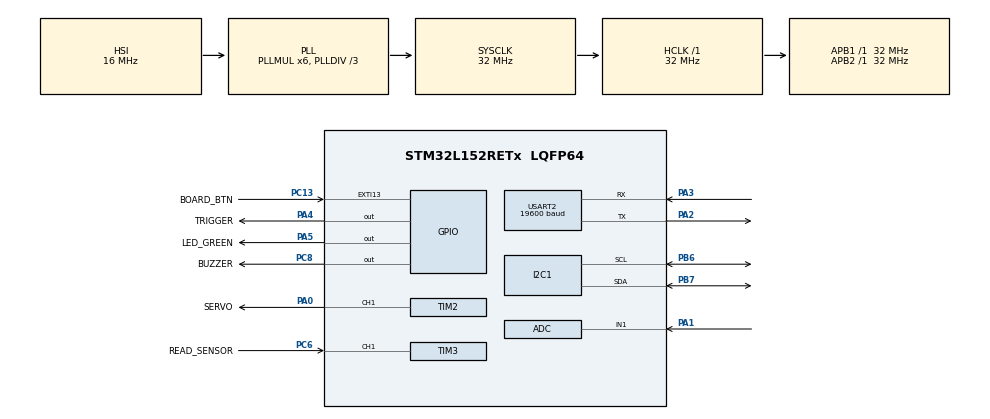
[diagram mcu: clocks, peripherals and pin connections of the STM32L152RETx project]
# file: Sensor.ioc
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ADC.Channel-1\#ChannelRegularConversion=ADC_CHANNEL_1
ADC.ContinuousConvMode=ENABLE
ADC.NbrOfConversionFlag=1
ADC.Rank-1\#ChannelRegularConversion=1
ADC.SamplingTime-1\#ChannelRegularConversion=ADC_SAMPLETIME_4CYCLES
Mcu.Family=STM32L1
Mcu.Name=STM32L152RETx
Mcu.Package=LQFP64
NVIC.ADC1_IRQn=true\:2\:0\:true\:false\:true\:true\:true
NVIC.EXTI15_10_IRQn=true\:0\:0\:true\:false\:true\:true\:false
NVIC.I2C1_EV_IRQn=true\:0\:0\:false\:false\:true\:true\:true
NVIC.PriorityGroup=NVIC_PRIORITYGROUP_4
NVIC.TIM2_IRQn=true\:0\:0\:false\:false\:true\:true\:false
NVIC.TIM3_IRQn=true\:0\:0\:false\:false\:true\:true\:false
NVIC.TIM9_IRQn=true\:0\:0\:false\:false\:true\:true\:true
NVIC.USART2_IRQn=true\:0\:0\:false\:false\:true\:true\:true
PA0-WKUP1.GPIO_Label=SERVO
PA0-WKUP1.GPIO_ModeDefaultPP=GPIO_MODE_AF_PP
PA0-WKUP1.GPIO_PuPd=GPIO_PULLUP
PA0-WKUP1.GPIO_Speed=GPIO_SPEED_FREQ_MEDIUM
PA0-WKUP1.Signal=S_TIM2_CH1_ETR
PA1.Mode=IN1
PA1.Signal=ADC_IN1
PA2.Mode=Asynchronous
PA2.Signal=USART2_TX
PA3.Mode=Asynchronous
PA3.Signal=USART2_RX
PA4.GPIO_Label=TRIGGER
PA4.GPIO_Speed=GPIO_SPEED_FREQ_MEDIUM
PA4.PinState=GPIO_PIN_RESET
PA4.Signal=GPIO_Output
PA5.GPIO_Label=LED_GREEN
PA5.GPIO_PuPd=GPIO_PULLUP
PA5.Signal=GPIO_Output
PB6.Mode=I2C
PB6.Signal=I2C1_SCL
PB7.Mode=I2C
PB7.Signal=I2C1_SDA
PC13-WKUP2.GPIO_Label=BOARD_BTN
PC13-WKUP2.Signal=GPXTI13
PC14-OSC32_IN.Mode=LSE-External-Oscillator
PC14-OSC32_IN.Signal=RCC_OSC32_IN
PC15-OSC32_OUT.Mode=LSE-External-Oscillator
PC15-OSC32_OUT.Signal=RCC_OSC32_OUT
PC6.GPIO_Label=READ_SENSOR
PC6.GPIO_PuPd=GPIO_NOPULL
PC6.GPIO_Speed=GPIO_SPEED_FREQ_MEDIUM
PC6.Signal=S_TIM3_CH1
PC8.GPIO_Label=BUZZER
PC8.GPIO_PuPd=GPIO_PULLDOWN
PC8.Signal=GPIO_Output
PH0-OSC_IN.Mode=HSE-External-Oscillator
PH0-OSC_IN.Signal=RCC_OSC_IN
PH1-OSC_OUT.Mode=HSE-External-Oscillator
PH1-OSC_OUT.Signal=RCC_OSC_OUT
ProjectManager.HeapSize=0x200
ProjectManager.StackSize=0x400
ProjectManager.TargetToolchain=STM32CubeIDE
RCC.48MHZClocksFreq_Value=48000000
RCC.AHBFreq_Value=32000000
RCC.APB1Freq_Value=32000000
RCC.APB1TimFreq_Value=32000000
RCC.APB2Freq_Value=32000000
RCC.APB2TimFreq_Value=32000000
RCC.HCLKFreq_Value=32000000
RCC.HSE_VALUE=24000000
RCC.HSI_VALUE=16000000
RCC.MSI_VALUE=2097000
RCC.PLLDIV=RCC_PLL_DIV3
RCC.PLLMUL=RCC_PLL_MUL6
RCC.SYSCLKFreq_VALUE=32000000
RCC.SYSCLKSource=RCC_SYSCLKSOURCE_PLLCLK
RCC.VCOOutputFreq_Value=96000000
SH.S_TIM2_CH1_ETR.0=TIM2_CH1,PWM Generation1 CH1
SH.S_TIM3_CH1.0=TIM3_CH1,Input_Capture1_from_TI1
TIM2.Channel-PWM\ Generation1\ CH1=TIM_CHANNEL_1
TIM2.Period=63999
TIM2.Prescaler=10
TIM2.Pulse-PWM\ Generation1\ CH1=31999
TIM3.AutoReloadPreload=TIM_AUTORELOAD_PRELOAD_DISABLE
TIM3.Channel-Input_Capture1_from_TI1=TIM_CHANNEL_1
TIM3.ICPolarity_CH1=TIM_INPUTCHANNELPOLARITY_BOTHEDGE
TIM3.Period=34999
TIM3.Prescaler=64
TIM3.TIM_MasterOutputTrigger=TIM_TRGO_RESET
TIM9.Channel-Output\ Compare1\ No\ Output=TIM_CHANNEL_1
TIM9.Period=44197
TIM9.Prescaler=724
USART2.BaudRate=19600
USART2.VirtualMode=VM_ASYNC
VP_TIM2_VS_ClockSourceINT.Mode=Internal
VP_TIM3_VS_ClockSourceINT.Mode=Internal
VP_TIM9_VS_ClockSourceINT.Mode=Internal
VP_TIM9_VS_no_output1.Mode=Output Compare1 No Output
board=custom

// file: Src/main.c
/* USER CODE BEGIN Header */
/**
  ******************************************************************************
  * @file           : main.c
  * @brief          : Main program body
  ******************************************************************************
  * @attention
  *
  * <h2><center>&copy; Copyright (c) 2019 STMicroelectronics.
  * All rights reserved.</center></h2>
  *
  * This software component is licensed by ST under BSD 3-Clause license,
  * the "License"; You may not use this file except in compliance with the
  * License. You may obtain a copy of the License at:
  *                        opensource.org/licenses/BSD-3-Clause
  *
  ******************************************************************************
  */
/* USER CODE END Header */

#include "main.h"

/* USER CODE BEGIN Includes */
#include "sd_hal_mpu6050.h"
/* USER CODE END Includes */

/* USER CODE BEGIN PD */
uint8_t timer_en    = 0;
uint8_t cycle_count = 0;
uint8_t send_en     = 0;
uint8_t start_measuring=0; 		//modo 0 usar el ultrasonidos

uint8_t modo = MODO_M;

uint16_t distances[NUM_SAMPLES];
int16_t angles[NUM_SAMPLES];

uint32_t value = 0;
uint32_t vin = 0;
uint32_t last_vin = 0;			//usado para pagar el adc si no se modifica en x tiempo
uint32_t didnotmove_pot = 0; //condicion de que el adc esta apagado
uint8_t turn = 0;

uint32_t flank_detect_en = NONE_EDGE;

// Medidas de tiempo para calcular la distancia del potenciometro
uint32_t start_time = 0, end_time = 0;

uint8_t uart_recieve = '0';
/* USER CODE END PD */

ADC_HandleTypeDef hadc;

I2C_HandleTypeDef hi2c1;

TIM_HandleTypeDef htim2;
TIM_HandleTypeDef htim3;
TIM_HandleTypeDef htim9;

UART_HandleTypeDef huart2;

/* USER CODE BEGIN PV */
SD_MPU6050 mpu1;
/* USER CODE END PV */

void SystemClock_Config(void);
static void MX_GPIO_Init(void);
static void MX_USART2_UART_Init(void);
static void MX_TIM2_Init(void);
static void MX_TIM3_Init(void);
static void MX_ADC_Init(void);
static void MX_TIM9_Init(void);
static void MX_I2C1_Init(void);
/* USER CODE BEGIN PFP */

void user_init(void);
void print_data(uint16_t *distances, int num_data);
void gestionar_modo(uint16_t modo);

/* USER CODE END PFP */

/* USER CODE BEGIN 0 */
#ifdef __GNUC__
#define PUTCHAR_PROTOTYPE int __io_putchar(int ch)
#define GETCHAR_PROTOTYPE int __io_getchar(void)
#else
#define PUTCHAR_PROTOTYPE int fputc(int ch, FILE *f)
#define GETCHAR_PROTOTYPE int fgetc(FILE *f)
#endif

/* USER CODE BEGIN 0 */
PUTCHAR_PROTOTYPE
{
	HAL_UART_Transmit(&huart2, (uint8_t *)&ch, 1, 0xFFFF);
	return ch;
}

GETCHAR_PROTOTYPE
{
	char ch;
	HAL_UART_Receive(&huart2, (uint8_t *)&ch, 1, 0xFFFF);

	return ch;
}

/* USER CODE END 0 */

int main(void)
{

  /* MCU Configuration--------------------------------------------------------*/

  /* Reset of all peripherals, Initializes the Flash interface and the Systick. */
  HAL_Init();

  /* USER CODE BEGIN Init */
  SD_MPU6050_Result result ;
  uint8_t mpu_ok[15] = {"MPU WORK FINE\n"};
  uint8_t mpu_not[17] = {"MPU NOT WORKING\n"};
  /* USER CODE END Init */

  /* Configure the system clock */
  SystemClock_Config();

  /* Initialize all configured peripherals */
  MX_GPIO_Init();
  MX_USART2_UART_Init();
  MX_TIM2_Init();
  MX_TIM3_Init();
  MX_ADC_Init();
  MX_TIM9_Init();
  MX_I2C1_Init();
  /* USER CODE BEGIN 2 */
  user_init();
//  gestionar_modo(modo);
  /* USER CODE END 2 */

  /* Infinite loop */
  while (1)
  {

    /* USER CODE BEGIN 3 */

      result = SD_MPU6050_Init(&hi2c1, &mpu1, SD_MPU6050_Device_0,
			       SD_MPU6050_Accelerometer_2G, SD_MPU6050_Gyroscope_250s);

      // Primero gestionamos el modo en el que estamos
      if (modo == MODO_M) {

	  // En el modo automatico se mandan las distancias una vez se ha completado una vuelta
	  // Sino se ha completado la vuelta, se espera a que acabe
	  if (send_en == 1) {

	      print_data(distances, 1);
	      start_time = 0;
	      end_time = 0;

	      __HAL_ADC_ENABLE(&hadc);
	      HAL_ADC_Start_IT(&hadc);

	      flank_detect_en = NONE_EDGE;
	      send_en = 0;

	      HAL_GPIO_WritePin(GPIOC, GPIO_PIN_8, GPIO_PIN_RESET);
	  }

      } else if (modo == MODO_A) {

	  if (send_en == 1) {
	      print_data(distances, NUM_SAMPLES);

	      start_time = 0;
	      end_time = 0;

	      flank_detect_en = NONE_EDGE;
	      send_en = 0;

	      HAL_GPIO_WritePin(GPIOA, GPIO_PIN_5, GPIO_PIN_RESET);
	      HAL_GPIO_WritePin(GPIOC, GPIO_PIN_8, GPIO_PIN_RESET);
	  }
      }

  }
  /* USER CODE END 3 */
}

void SystemClock_Config(void)
{
  RCC_OscInitTypeDef RCC_OscInitStruct = {0};
  RCC_ClkInitTypeDef RCC_ClkInitStruct = {0};

  /** Configure the main internal regulator output voltage
  */
  __HAL_PWR_VOLTAGESCALING_CONFIG(PWR_REGULATOR_VOLTAGE_SCALE1);
  /** Initializes the CPU, AHB and APB busses clocks
  */
  RCC_OscInitStruct.OscillatorType = RCC_OSCILLATORTYPE_HSI;
  RCC_OscInitStruct.HSIState = RCC_HSI_ON;
  RCC_OscInitStruct.HSICalibrationValue = RCC_HSICALIBRATION_DEFAULT;
  RCC_OscInitStruct.PLL.PLLState = RCC_PLL_ON;
  RCC_OscInitStruct.PLL.PLLSource = RCC_PLLSOURCE_HSI;
  RCC_OscInitStruct.PLL.PLLMUL = RCC_PLL_MUL6;
  RCC_OscInitStruct.PLL.PLLDIV = RCC_PLL_DIV3;
  if (HAL_RCC_OscConfig(&RCC_OscInitStruct) != HAL_OK)
  {
    Error_Handler();
  }
  /** Initializes the CPU, AHB and APB busses clocks
  */
  RCC_ClkInitStruct.ClockType = RCC_CLOCKTYPE_HCLK|RCC_CLOCKTYPE_SYSCLK
                              |RCC_CLOCKTYPE_PCLK1|RCC_CLOCKTYPE_PCLK2;
  RCC_ClkInitStruct.SYSCLKSource = RCC_SYSCLKSOURCE_PLLCLK;
  RCC_ClkInitStruct.AHBCLKDivider = RCC_SYSCLK_DIV1;
  RCC_ClkInitStruct.APB1CLKDivider = RCC_HCLK_DIV1;
  RCC_ClkInitStruct.APB2CLKDivider = RCC_HCLK_DIV1;

  if (HAL_RCC_ClockConfig(&RCC_ClkInitStruct, FLASH_LATENCY_1) != HAL_OK)
  {
    Error_Handler();
  }
}

static void MX_ADC_Init(void)
{

  ADC_ChannelConfTypeDef sConfig = {0};

  /** Configure the global features of the ADC (Clock, Resolution, Data Alignment and number of conversion)
  */
  hadc.Instance = ADC1;
  hadc.Init.ClockPrescaler = ADC_CLOCK_ASYNC_DIV1;
  hadc.Init.Resolution = ADC_RESOLUTION_12B;
  hadc.Init.DataAlign = ADC_DATAALIGN_RIGHT;
  hadc.Init.ScanConvMode = ADC_SCAN_DISABLE;
  hadc.Init.EOCSelection = ADC_EOC_SEQ_CONV;
  hadc.Init.LowPowerAutoWait = ADC_AUTOWAIT_DISABLE;
  hadc.Init.LowPowerAutoPowerOff = ADC_AUTOPOWEROFF_DISABLE;
  hadc.Init.ChannelsBank = ADC_CHANNELS_BANK_A;
  hadc.Init.ContinuousConvMode = ENABLE;
  hadc.Init.NbrOfConversion = 1;
  hadc.Init.DiscontinuousConvMode = DISABLE;
  hadc.Init.ExternalTrigConv = ADC_SOFTWARE_START;
  hadc.Init.ExternalTrigConvEdge = ADC_EXTERNALTRIGCONVEDGE_NONE;
  hadc.Init.DMAContinuousRequests = DISABLE;
  if (HAL_ADC_Init(&hadc) != HAL_OK)
  {
    Error_Handler();
  }
  /** Configure for the selected ADC regular channel its corresponding rank in the sequencer and its sample time.
  */
  sConfig.Channel = ADC_CHANNEL_1;
  sConfig.Rank = ADC_REGULAR_RANK_1;
  sConfig.SamplingTime = ADC_SAMPLETIME_4CYCLES;
  if (HAL_ADC_ConfigChannel(&hadc, &sConfig) != HAL_OK)
  {
    Error_Handler();
  }

}

static void MX_I2C1_Init(void)
{

  hi2c1.Instance = I2C1;
  hi2c1.Init.ClockSpeed = 100000;
  hi2c1.Init.DutyCycle = I2C_DUTYCYCLE_2;
  hi2c1.Init.OwnAddress1 = 0;
  hi2c1.Init.AddressingMode = I2C_ADDRESSINGMODE_7BIT;
  hi2c1.Init.DualAddressMode = I2C_DUALADDRESS_DISABLE;
  hi2c1.Init.OwnAddress2 = 0;
  hi2c1.Init.GeneralCallMode = I2C_GENERALCALL_DISABLE;
  hi2c1.Init.NoStretchMode = I2C_NOSTRETCH_DISABLE;
  if (HAL_I2C_Init(&hi2c1) != HAL_OK)
  {
    Error_Handler();
  }

}

static void MX_TIM2_Init(void)
{

  TIM_ClockConfigTypeDef sClockSourceConfig = {0};
  TIM_MasterConfigTypeDef sMasterConfig = {0};
  TIM_OC_InitTypeDef sConfigOC = {0};

  htim2.Instance = TIM2;
  htim2.Init.Prescaler = 10;
  htim2.Init.CounterMode = TIM_COUNTERMODE_UP;
  htim2.Init.Period = 63999;
  htim2.Init.ClockDivision = TIM_CLOCKDIVISION_DIV1;
  htim2.Init.AutoReloadPreload = TIM_AUTORELOAD_PRELOAD_DISABLE;
  if (HAL_TIM_Base_Init(&htim2) != HAL_OK)
  {
    Error_Handler();
  }
  sClockSourceConfig.ClockSource = TIM_CLOCKSOURCE_INTERNAL;
  if (HAL_TIM_ConfigClockSource(&htim2, &sClockSourceConfig) != HAL_OK)
  {
    Error_Handler();
  }
  if (HAL_TIM_PWM_Init(&htim2) != HAL_OK)
  {
    Error_Handler();
  }
  sMasterConfig.MasterOutputTrigger = TIM_TRGO_RESET;
  sMasterConfig.MasterSlaveMode = TIM_MASTERSLAVEMODE_DISABLE;
  if (HAL_TIMEx_MasterConfigSynchronization(&htim2, &sMasterConfig) != HAL_OK)
  {
    Error_Handler();
  }
  sConfigOC.OCMode = TIM_OCMODE_PWM1;
  sConfigOC.Pulse = 31999;
  sConfigOC.OCPolarity = TIM_OCPOLARITY_HIGH;
  sConfigOC.OCFastMode = TIM_OCFAST_DISABLE;
  if (HAL_TIM_PWM_ConfigChannel(&htim2, &sConfigOC, TIM_CHANNEL_1) != HAL_OK)
  {
    Error_Handler();
  }
  HAL_TIM_MspPostInit(&htim2);

}

static void MX_TIM3_Init(void)
{

  TIM_ClockConfigTypeDef sClockSourceConfig = {0};
  TIM_MasterConfigTypeDef sMasterConfig = {0};
  TIM_IC_InitTypeDef sConfigIC = {0};

  htim3.Instance = TIM3;
  htim3.Init.Prescaler = 64;
  htim3.Init.CounterMode = TIM_COUNTERMODE_UP;
  htim3.Init.Period = 34999;
  htim3.Init.ClockDivision = TIM_CLOCKDIVISION_DIV1;
  htim3.Init.AutoReloadPreload = TIM_AUTORELOAD_PRELOAD_DISABLE;
  if (HAL_TIM_Base_Init(&htim3) != HAL_OK)
  {
    Error_Handler();
  }
  sClockSourceConfig.ClockSource = TIM_CLOCKSOURCE_INTERNAL;
  if (HAL_TIM_ConfigClockSource(&htim3, &sClockSourceConfig) != HAL_OK)
  {
    Error_Handler();
  }
  if (HAL_TIM_IC_Init(&htim3) != HAL_OK)
  {
    Error_Handler();
  }
  sMasterConfig.MasterOutputTrigger = TIM_TRGO_RESET;
  sMasterConfig.MasterSlaveMode = TIM_MASTERSLAVEMODE_DISABLE;
  if (HAL_TIMEx_MasterConfigSynchronization(&htim3, &sMasterConfig) != HAL_OK)
  {
    Error_Handler();
  }
  sConfigIC.ICPolarity = TIM_INPUTCHANNELPOLARITY_BOTHEDGE;
  sConfigIC.ICSelection = TIM_ICSELECTION_DIRECTTI;
  sConfigIC.ICPrescaler = TIM_ICPSC_DIV1;
  sConfigIC.ICFilter = 0;
  if (HAL_TIM_IC_ConfigChannel(&htim3, &sConfigIC, TIM_CHANNEL_1) != HAL_OK)
  {
    Error_Handler();
  }

}

static void MX_TIM9_Init(void)
{

  TIM_ClockConfigTypeDef sClockSourceConfig = {0};
  TIM_MasterConfigTypeDef sMasterConfig = {0};
  TIM_OC_InitTypeDef sConfigOC = {0};

  htim9.Instance = TIM9;
  htim9.Init.Prescaler = 724;
  htim9.Init.CounterMode = TIM_COUNTERMODE_UP;
  htim9.Init.Period = 44197;
  htim9.Init.ClockDivision = TIM_CLOCKDIVISION_DIV1;
  htim9.Init.AutoReloadPreload = TIM_AUTORELOAD_PRELOAD_DISABLE;
  if (HAL_TIM_Base_Init(&htim9) != HAL_OK)
  {
    Error_Handler();
  }
  sClockSourceConfig.ClockSource = TIM_CLOCKSOURCE_INTERNAL;
  if (HAL_TIM_ConfigClockSource(&htim9, &sClockSourceConfig) != HAL_OK)
  {
    Error_Handler();
  }
  if (HAL_TIM_OC_Init(&htim9) != HAL_OK)
  {
    Error_Handler();
  }
  sMasterConfig.MasterOutputTrigger = TIM_TRGO_RESET;
  sMasterConfig.MasterSlaveMode = TIM_MASTERSLAVEMODE_DISABLE;
  if (HAL_TIMEx_MasterConfigSynchronization(&htim9, &sMasterConfig) != HAL_OK)
  {
    Error_Handler();
  }
  sConfigOC.OCMode = TIM_OCMODE_TIMING;
  sConfigOC.Pulse = 0;
  sConfigOC.OCPolarity = TIM_OCPOLARITY_HIGH;
  sConfigOC.OCFastMode = TIM_OCFAST_DISABLE;
  if (HAL_TIM_OC_ConfigChannel(&htim9, &sConfigOC, TIM_CHANNEL_1) != HAL_OK)
  {
    Error_Handler();
  }

}

static void MX_USART2_UART_Init(void)
{

  huart2.Instance = USART2;
  huart2.Init.BaudRate = 19600;
  huart2.Init.WordLength = UART_WORDLENGTH_8B;
  huart2.Init.StopBits = UART_STOPBITS_1;
  huart2.Init.Parity = UART_PARITY_NONE;
  huart2.Init.Mode = UART_MODE_TX_RX;
  huart2.Init.HwFlowCtl = UART_HWCONTROL_NONE;
  huart2.Init.OverSampling = UART_OVERSAMPLING_16;
  if (HAL_UART_Init(&huart2) != HAL_OK)
  {
    Error_Handler();
  }

}

static void MX_GPIO_Init(void)
{
  GPIO_InitTypeDef GPIO_InitStruct = {0};

  /* GPIO Ports Clock Enable */
  __HAL_RCC_GPIOC_CLK_ENABLE();
  __HAL_RCC_GPIOH_CLK_ENABLE();
  __HAL_RCC_GPIOA_CLK_ENABLE();
  __HAL_RCC_GPIOB_CLK_ENABLE();

  /*Configure GPIO pin Output Level */
  HAL_GPIO_WritePin(GPIOA, TRIGGER_Pin|LED_GREEN_Pin, GPIO_PIN_RESET);

  /*Configure GPIO pin Output Level */
  HAL_GPIO_WritePin(BUZZER_GPIO_Port, BUZZER_Pin, GPIO_PIN_RESET);

  /*Configure GPIO pin : BOARD_BTN_Pin */
  GPIO_InitStruct.Pin = BOARD_BTN_Pin;
  GPIO_InitStruct.Mode = GPIO_MODE_IT_RISING;
  GPIO_InitStruct.Pull = GPIO_NOPULL;
  HAL_GPIO_Init(BOARD_BTN_GPIO_Port, &GPIO_InitStruct);

  /*Configure GPIO pin : TRIGGER_Pin */
  GPIO_InitStruct.Pin = TRIGGER_Pin;
  GPIO_InitStruct.Mode = GPIO_MODE_OUTPUT_PP;
  GPIO_InitStruct.Pull = GPIO_NOPULL;
  GPIO_InitStruct.Speed = GPIO_SPEED_FREQ_MEDIUM;
  HAL_GPIO_Init(TRIGGER_GPIO_Port, &GPIO_InitStruct);

  /*Configure GPIO pin : LED_GREEN_Pin */
  GPIO_InitStruct.Pin = LED_GREEN_Pin;
  GPIO_InitStruct.Mode = GPIO_MODE_OUTPUT_PP;
  GPIO_InitStruct.Pull = GPIO_PULLUP;
  GPIO_InitStruct.Speed = GPIO_SPEED_FREQ_LOW;
  HAL_GPIO_Init(LED_GREEN_GPIO_Port, &GPIO_InitStruct);

  /*Configure GPIO pin : BUZZER_Pin */
  GPIO_InitStruct.Pin = BUZZER_Pin;
  GPIO_InitStruct.Mode = GPIO_MODE_OUTPUT_PP;
  GPIO_InitStruct.Pull = GPIO_PULLDOWN;
  GPIO_InitStruct.Speed = GPIO_SPEED_FREQ_LOW;
  HAL_GPIO_Init(BUZZER_GPIO_Port, &GPIO_InitStruct);

  /* EXTI interrupt init*/
  HAL_NVIC_SetPriority(EXTI15_10_IRQn, 0, 0);
  HAL_NVIC_EnableIRQ(EXTI15_10_IRQn);

}

/* USER CODE BEGIN 4 */

// Inicializa los perifericos a la config basica
void user_init(void)
{
	EXTI->IMR |= GPIO_PIN_13; // Unmask EXTI13
	HAL_NVIC_EnableIRQ(EXTI15_10_IRQn);  //Enable EXTI13 in NVIC

	// Timer en PWM para mover el servo
	TIM2->PSC=10;
	TIM2->ARR=0x63999;
	TIM2->CCR1=3799;
	TIM2->CNT=0;

	HAL_TIM_PWM_Start(&htim2, TIM_CHANNEL_1);

	// Timer usado para leer el sensor
	TIM3->PSC=64;
	TIM3->ARR=0x34999;

	HAL_TIM_IC_Stop_IT(&htim3,TIM_CHANNEL_1);
	HAL_TIM_Base_Stop_IT(&htim3);

	// Habilitamos poder recibir datos del uart para cambiar de modo
	HAL_UART_Receive_IT(&huart2, &uart_recieve, sizeof(uint8_t));

	// ADC para leer la posicion del potenciometro
	__HAL_ADC_ENABLE(&hadc);
	HAL_ADC_Start(&hadc);
	HAL_ADC_Start_IT(&hadc);
}

// Muestra por el puerto serie los datos
// Si alguna distancia es mayor de 250cm o menor de 2cm
// se muestra que la distancia esta fuera de rango
void print_data(uint16_t *distances, int num_data) {

  for(int d = 0; d < num_data; ++d) {
      if(distances[d] > 400 || distances[d] < 2) {
	  printf("M[%d] is out of range.\n", d);
      } else {
	  printf("M[%d] (%d) at %u cm.\n", d, angles[d], distances[d]);
      }
  }
  printf("\n");
}

// Habilitamos o deshabilitamos los perifericos en funcion del modo al que vamos a pasar
//
// Modo automatico:
//   Servo automatico con un timer (TIM2)
//   Captura de datos con un timer (TIM3)
//
// Modo manual:
//   Servo manual con el adc (ADC)
//   Movimiento manual del servo (TIM2)
//   Captura de datos con el boton (EXTI)
void gestionar_modo(uint16_t modo) {

    if(modo == MODO_A) {

	__HAL_ADC_DISABLE(&hadc);
	HAL_ADC_Stop_IT(&hadc);

	HAL_TIM_Base_Start(&htim9);
	HAL_TIM_Base_Start_IT(&htim9);

	TIM2->CCR1 = D_M90;

    } else if (modo == MODO_M) {

	HAL_TIM_IC_Stop_IT(&htim3,TIM_CHANNEL_1);
	HAL_TIM_Base_Stop_IT(&htim3);

	HAL_TIM_Base_Stop(&htim9);
	HAL_TIM_Base_Stop_IT(&htim9);

	__HAL_ADC_ENABLE(&hadc);
	HAL_ADC_Start_IT(&hadc);
    }
}

// Recibimos input del usuario
// Permite cambiar entre modos de funcionamiento
// TODO: Add mas modos?,
void HAL_UART_RxCpltCallback(UART_HandleTypeDef *huart) {

  __disable_irq();

  if (huart->Instance == USART2) {
      if(strcmp(uart_recieve,"c") || strcmp(uart_recieve, "C"))
	  if (modo == MODO_M) modo = MODO_A;
	  else modo = MODO_M;
	  gestionar_modo(modo);
	  HAL_UART_Receive_IT(&huart2, &uart_recieve, sizeof(uint8_t));
      }
  __enable_irq();
}

/* USER CODE END 4 */

void Error_Handler(void)
{
}

/************************ (C) COPYRIGHT STMicroelectronics *****END OF FILE****/
